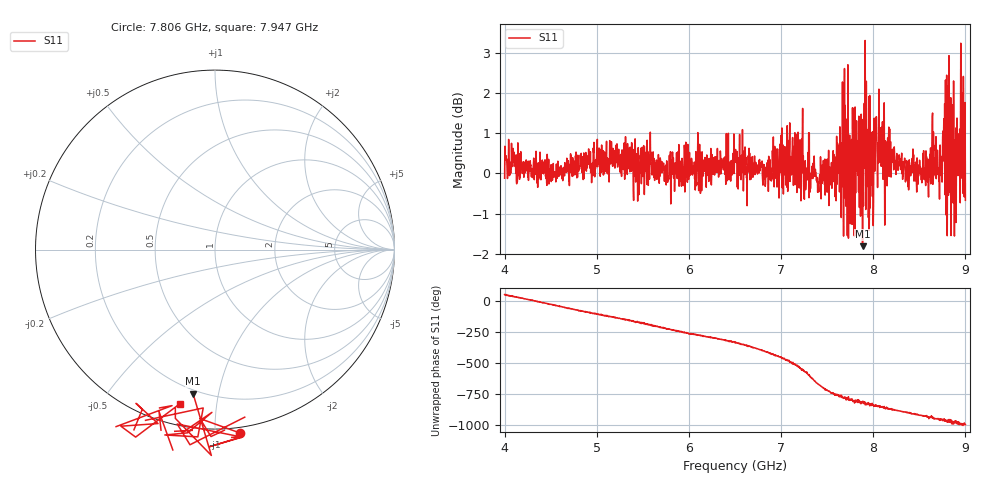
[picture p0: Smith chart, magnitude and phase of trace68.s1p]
! Created with skrf 1.8.0 (http://scikit-rf.org).
# Hz S RI R 50.0
!freq ReS11 ImS11
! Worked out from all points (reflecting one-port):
!   1601 points, 4 GHz to 9 GHz, reference 50 ohm
!   lowest |S11| = -1.8 dB at 7.884 GHz (marker M1), VSWR 9.63, Z = 8.96 - j42.2 ohm
!   phase of S11 starts at 51 deg and turns -1051 deg over the sweep
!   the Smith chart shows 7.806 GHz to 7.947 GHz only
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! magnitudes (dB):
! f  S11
! 4 GHz  -0.1
! 4.625 GHz  -0.1
! 5.25 GHz  0.2
! 5.875 GHz  0.2
! 6.5 GHz  0.4
! 6.825 GHz  0.2
! 7.125 GHz  0.9
! 7.209 GHz  0.5
! 7.409 GHz  -0.5
! 7.691 GHz  0.5
! 7.75 GHz  -1.3
! 7.775 GHz  1.6
! 7.822 GHz  0.4
! 7.884 GHz  -1.8
! 7.919 GHz  -0.9
! 7.981 GHz  -0.3
! 8.031 GHz  0.9
! 8.088 GHz  0.2
! 8.375 GHz  0.1
! 8.581 GHz  0.3
! 8.656 GHz  0.6
! 8.725 GHz  0.7
! 8.759 GHz  0.3
! 8.834 GHz  1.8
! 8.856 GHz  1.2
! 8.9 GHz  -1.2
! 8.972 GHz  0.5
! 9 GHz  -0.7
